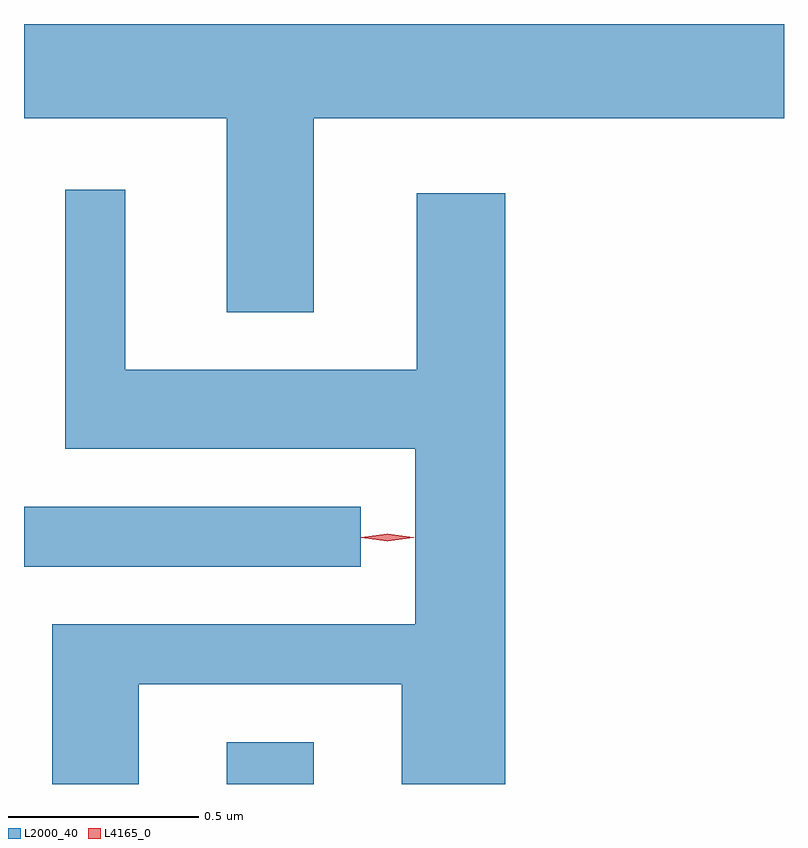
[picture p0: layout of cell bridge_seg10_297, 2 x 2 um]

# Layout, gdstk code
import gdstk
lib = gdstk.Library(unit=1e-6, precision=1e-09)
def R(c, l, rs):  # rectangles x0, y0, x1, y1
    for r in rs: c.add(gdstk.rectangle(r[:2], r[2:], *l))
def P(c, l, *ps):  # polygons
    for p in ps: c.add(gdstk.Polygon(p, *l))
L2000_40 = (2000, 40)
L4165_0 = (4165, 0)

bridge_seg10_297 = lib.new_cell('bridge_seg10_297')
R(bridge_seg10_297, L2000_40, [(1807.241,2089.964,1807.469,2090.074), (1806.707,2090.536,1807.593,2090.694)])
P(bridge_seg10_297, L2000_40, [(1807.469,2091.716),(1808.707,2091.716),(1808.707,2091.964),(1806.707,2091.964),(1806.707,2091.716),(1807.241,2091.716),(1807.241,2091.206),(1807.469,2091.206)],
  [(1807.009,2090.226),(1807.701,2090.226),(1807.701,2089.964),(1807.974,2089.964),(1807.974,2091.519),(1807.741,2091.519),(1807.741,2091.054),(1806.974,2091.054),(1806.974,2091.528),(1806.816,2091.528),(1806.816,2090.846),(1807.736,2090.846),(1807.736,2090.384),(1806.781,2090.384),(1806.781,2089.964),(1807.009,2089.964)])
P(bridge_seg10_297, L4165_0, [(1807.663,2090.603),(1807.594,2090.612),(1807.593,2090.613),(1807.594,2090.613),(1807.663,2090.623),(1807.732,2090.613),(1807.732,2090.613),(1807.732,2090.612)],
  [(1807.664,2090.603),(1807.597,2090.612),(1807.597,2090.613),(1807.597,2090.613),(1807.664,2090.623),(1807.729,2090.613),(1807.73,2090.613),(1807.729,2090.612)])

lib.write_gds('bridge_seg10_297.gds')
